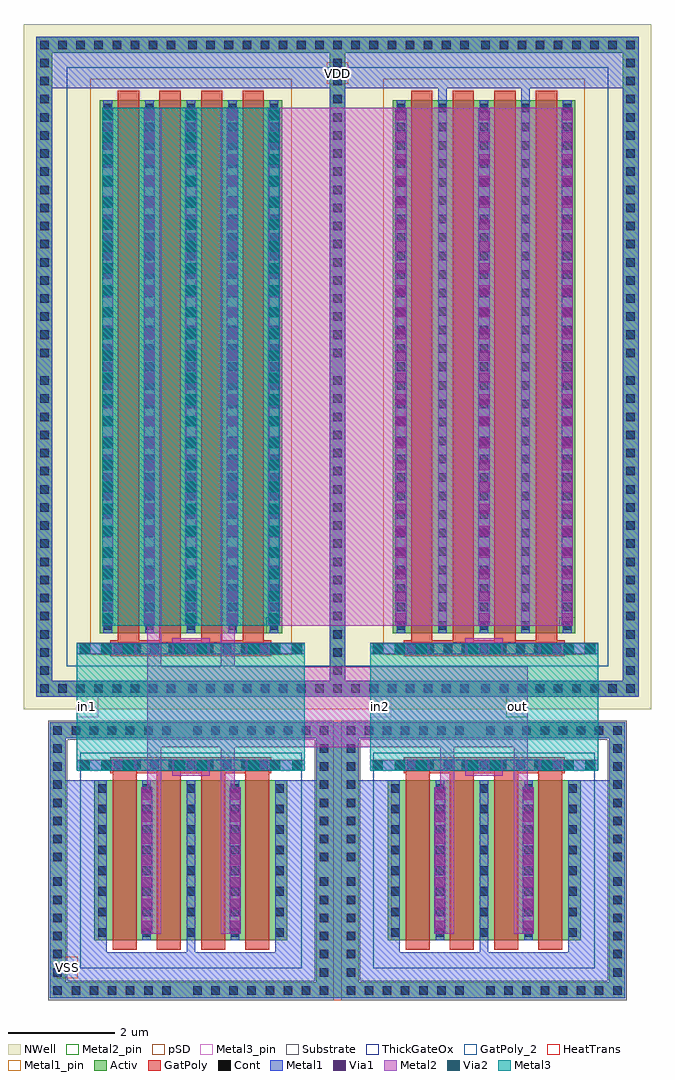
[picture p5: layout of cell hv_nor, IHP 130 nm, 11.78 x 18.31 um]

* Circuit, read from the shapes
.subckt hv_nor VDD VSS in1 in2 out
XM1 out in1 VSS VSS sg13_hv_nmos w=3u l=0.45u m=4
XM2 out in2 VSS VSS sg13_hv_nmos w=3u l=0.45u m=4
XM3 out in1 n1 VDD sg13_hv_pmos w=10u l=0.4u m=4
XM4 VDD in2 n1 VDD sg13_hv_pmos w=10u l=0.4u m=4
.ends

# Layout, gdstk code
from math import pi, radians
import gdstk
lib = gdstk.Library(unit=1e-6, precision=1e-09)
def R(c, l, rs):  # rectangles x0, y0, x1, y1
    for r in rs: c.add(gdstk.rectangle(r[:2], r[2:], *l))
def A(c, l, x, y, w, h, nx, ny, dx, dy):  # array of equal rectangles
    R(c, l, [(x+i*dx, y+j*dy, x+i*dx+w, y+j*dy+h) for i in range(nx) for j in range(ny)])
def P(c, l, *ps):  # polygons
    for p in ps: c.add(gdstk.Polygon(p, *l))
Activ = (1, 0)
GatPoly = (5, 0)
GatPoly_2 = (5, 2)
Cont = (6, 0)
Metal1 = (8, 0)
Metal1_pin = (8, 2)
Metal2 = (10, 0)
Metal2_pin = (10, 2)
pSD = (14, 0)
Via1 = (19, 0)
Via2 = (29, 0)
Metal3 = (30, 0)
Metal3_pin = (30, 2)
NWell = (31, 0)
Substrate = (40, 0)
ThickGateOx = (44, 0)
HeatTrans = (51, 0)

via_stack_14 = lib.new_cell('via_stack$14')
R(via_stack_14, Metal1, [(-0.105,-1.375,0.105,1.375)])
R(via_stack_14, Metal2, [(-0.1,-1.375,0.1,1.375)])
A(via_stack_14, Via1, -0.095, -1.325, 0.19, 0.19, 1, 7, 0, 0.41)

nmoshv_6 = lib.new_cell('nmosHV$6')
A(nmoshv_6, Activ, 0, 0, 0.3, 0.3, 5, 1, 0.83, 0)
R(nmoshv_6, Activ, [(-0.84,-0.79,-0.54,3.79), (4.16,-0.79,4.46,3.79), (0,0,3.62,3), (-0.84,3.79,4.46,4.09)])
P(nmoshv_6, Activ, [(-0.84,-1.09),(-0.84,3.79),(-0.54,3.79),(-0.54,-0.79),(4.16,-0.79),(4.16,3.79),(-0.84,3.79),(-0.84,4.09),(4.46,4.09),(4.46,-1.09)])
A(nmoshv_6, GatPoly, 0.34, -0.18, 0.45, 3.36, 4, 1, 0.83, 0)
R(nmoshv_6, GatPoly_2, [(0.34,-0.18,0.79,3.18)])
A(nmoshv_6, Cont, -0.77, -1.02, 0.16, 0.16, 7, 2, 0.34, 4.88)
A(nmoshv_6, Cont, 1.85, -1.02, 0.16, 0.16, 8, 2, 0.34, 4.88)
A(nmoshv_6, Cont, -0.77, -0.68, 0.16, 0.16, 1, 6, 0, 0.34)
A(nmoshv_6, Cont, 4.23, -0.68, 0.16, 0.16, 1, 6, 0, 0.34)
A(nmoshv_6, Cont, 0.07, 0.07, 0.16, 0.16, 5, 7, 0.83, 0.385)
A(nmoshv_6, Cont, -0.77, 1.48, 0.16, 0.16, 1, 7, 0, 0.34)
A(nmoshv_6, Cont, 4.23, 1.48, 0.16, 0.16, 1, 7, 0, 0.34)
A(nmoshv_6, Cont, 0.07, 2.77, 0.16, 0.16, 5, 1, 0.83, 0)
A(nmoshv_6, Metal1, 0.07, 0, 0.16, 3, 5, 1, 0.83, 0)
R(nmoshv_6, Metal1, [(-0.84,-1.09,4.46,-0.79), (-0.84,-0.79,-0.54,3.79), (4.16,-0.79,4.46,3.79), (-0.84,3.79,4.46,4.09)])
R(nmoshv_6, Metal1_pin, [(0.07,0,0.23,3), (0.9,0,1.06,3)])
R(nmoshv_6, pSD, [(-0.87,-0.76,-0.51,3.76), (4.13,-0.76,4.49,3.76), (-0.87,3.76,4.49,4.12)])
P(nmoshv_6, pSD, [(-0.87,-1.12),(-0.87,3.76),(-0.51,3.76),(-0.51,-0.76),(4.13,-0.76),(4.13,3.76),(-0.87,3.76),(-0.87,4.12),(4.49,4.12),(4.49,-1.12)])
R(nmoshv_6, Substrate, [(-0.87,-0.76,-0.51,3.76), (4.13,-0.76,4.49,3.76), (-0.87,3.76,4.49,4.12)])
P(nmoshv_6, Substrate, [(-0.87,-1.12),(-0.87,3.76),(-0.51,3.76),(-0.51,-0.76),(4.13,-0.76),(4.13,3.76),(-0.87,3.76),(-0.87,4.12),(4.49,4.12),(4.49,-1.12)])
R(nmoshv_6, ThickGateOx, [(-0.27,-0.52,3.89,3.52)])
A(nmoshv_6, HeatTrans, 0.34, -0.18, 0.45, 3.36, 4, 1, 0.83, 0)
nmoshv_6.add(gdstk.Label('nmosHV', (0.565,1.5), layer=63, texttype=0))
nmoshv_6.add(gdstk.Label('sub!', (1.81,-0.94), layer=63, texttype=0))
nmoshv_6.add(gdstk.Label('nmosHV', (0.565,1.5), layer=51, texttype=0))
nmoshv_6.add(gdstk.Label('nmosHV', (1.395,1.5), layer=51, texttype=0))
nmoshv_6.add(gdstk.Label('nmosHV', (2.225,1.5), layer=51, texttype=0))
nmoshv_6.add(gdstk.Label('nmosHV', (3.055,1.5), layer=51, texttype=0))

via_stack_2_4 = lib.new_cell('via_stack$2$4')
R(via_stack_2_4, Metal1, [(-0.105,-4.86,0.105,4.86)])
R(via_stack_2_4, Metal2, [(-0.1,-4.86,0.1,4.86)])
A(via_stack_2_4, Via1, -0.095, -4.81, 0.19, 0.19, 1, 24, 0, 0.41)

via_stack_3_1 = lib.new_cell('via_stack$3$1')
R(via_stack_3_1, GatPoly, [(-0.15,-1.51,0.15,1.51)])
A(via_stack_3_1, Cont, -0.08, -1.44, 0.16, 0.16, 1, 9, 0, 0.34)
R(via_stack_3_1, Metal1, [(-0.08,-1.49,0.08,1.49)])

pmoshv_6 = lib.new_cell('pmosHV$6')
A(pmoshv_6, Activ, 0, 0, 0.3, 0.3, 5, 1, 0.78, 0)
R(pmoshv_6, Activ, [(-1.19,-0.89,-0.89,10.89), (4.31,-0.89,4.61,10.89), (0,0,3.42,10), (-1.19,10.89,4.61,11.19)])
P(pmoshv_6, Activ, [(-1.19,-1.19),(-1.19,10.89),(-0.89,10.89),(-0.89,-0.89),(4.31,-0.89),(4.31,10.89),(-1.19,10.89),(-1.19,11.19),(4.61,11.19),(4.61,-1.19)])
A(pmoshv_6, GatPoly, 0.34, -0.18, 0.4, 10.36, 4, 1, 0.78, 0)
R(pmoshv_6, GatPoly_2, [(0.34,-0.18,0.74,10.18)])
A(pmoshv_6, Cont, -1.12, -1.12, 0.16, 0.16, 8, 2, 0.34, 12.08)
A(pmoshv_6, Cont, 1.66, -1.12, 0.16, 0.16, 9, 2, 0.34, 12.08)
A(pmoshv_6, Cont, -1.12, -0.78, 0.16, 0.16, 1, 17, 0, 0.34)
A(pmoshv_6, Cont, 4.38, -0.78, 0.16, 0.16, 1, 17, 0, 0.34)
A(pmoshv_6, Cont, 0.07, 0.07, 0.16, 0.16, 5, 4, 0.78, 0.345)
A(pmoshv_6, Cont, 0.07, 1.455, 0.16, 0.16, 5, 3, 0.78, 0.345)
A(pmoshv_6, Cont, 0.07, 2.495, 0.16, 0.16, 5, 4, 0.78, 0.345)
A(pmoshv_6, Cont, 0.07, 3.88, 0.16, 0.16, 5, 3, 0.78, 0.345)
A(pmoshv_6, Cont, 0.07, 4.92, 0.16, 0.16, 5, 4, 0.78, 0.345)
A(pmoshv_6, Cont, -1.12, 5.18, 0.16, 0.16, 1, 17, 0, 0.34)
A(pmoshv_6, Cont, 4.38, 5.18, 0.16, 0.16, 1, 17, 0, 0.34)
A(pmoshv_6, Cont, 0.07, 6.305, 0.16, 0.16, 5, 3, 0.78, 0.345)
A(pmoshv_6, Cont, 0.07, 7.345, 0.16, 0.16, 5, 4, 0.78, 0.345)
A(pmoshv_6, Cont, 0.07, 8.73, 0.16, 0.16, 5, 3, 0.78, 0.345)
A(pmoshv_6, Cont, 0.07, 9.77, 0.16, 0.16, 5, 1, 0.78, 0)
A(pmoshv_6, Metal1, 0.07, 0, 0.16, 10, 5, 1, 0.78, 0)
R(pmoshv_6, Metal1, [(-1.19,-1.19,4.61,-0.89), (-1.19,-0.89,-0.89,10.89), (4.31,-0.89,4.61,10.89), (-1.19,10.89,4.61,11.19)])
R(pmoshv_6, Metal1_pin, [(0.07,0,0.23,10), (0.85,0,1.01,10)])
R(pmoshv_6, pSD, [(-0.18,-0.4,3.6,10.4)])
R(pmoshv_6, NWell, [(-1.43,-1.43,4.85,11.43), (-0.62,-0.62,4.04,10.62)])
R(pmoshv_6, Substrate, [(3.12,0,3.42,0.3)])
R(pmoshv_6, ThickGateOx, [(-0.62,-0.62,4.04,10.62)])
A(pmoshv_6, HeatTrans, 0.34, -0.18, 0.4, 10.36, 4, 1, 0.78, 0)
pmoshv_6.add(gdstk.Label('pmosHV', (0.54,5), layer=63, texttype=0))
pmoshv_6.add(gdstk.Label('well', (1.71,-1.04), layer=63, texttype=0))
pmoshv_6.add(gdstk.Label('pmos', (0.54,5), layer=51, texttype=0))
pmoshv_6.add(gdstk.Label('pmos', (1.32,5), layer=51, texttype=0))
pmoshv_6.add(gdstk.Label('pmos', (2.1,5), layer=51, texttype=0))
pmoshv_6.add(gdstk.Label('pmos', (2.88,5), layer=51, texttype=0))

via_stack_4_2 = lib.new_cell('via_stack$4$2')
R(via_stack_4_2, Metal1, [(-0.105,-0.35,0.105,0.35)])
R(via_stack_4_2, Metal2, [(-0.1,-0.35,0.1,0.35)])
R(via_stack_4_2, Via1, [(-0.095,-0.3,0.095,-0.11), (-0.095,0.11,0.095,0.3)])
R(via_stack_4_2, Via2, [(-0.095,-0.3,0.095,-0.11), (-0.095,0.11,0.095,0.3)])
R(via_stack_4_2, Metal3, [(-0.1,-0.35,0.1,0.35)])

via_stack_5 = lib.new_cell('via_stack$5')
R(via_stack_5, Metal1, [(-0.105,-0.555,0.105,0.555)])
R(via_stack_5, Metal2, [(-0.1,-0.555,0.1,0.555)])
A(via_stack_5, Via1, -0.095, -0.505, 0.19, 0.19, 1, 3, 0, 0.41)
A(via_stack_5, Via2, -0.095, -0.505, 0.19, 0.19, 1, 3, 0, 0.41)
R(via_stack_5, Metal3, [(-0.1,-0.555,0.1,0.555)])

via_stack_8_2 = lib.new_cell('via_stack$8$2')
R(via_stack_8_2, Metal1, [(-0.105,-4.86,0.105,4.86)])
R(via_stack_8_2, Metal2, [(-0.1,-4.86,0.1,4.86)])
A(via_stack_8_2, Via1, -0.095, -4.81, 0.19, 0.19, 1, 24, 0, 0.41)
A(via_stack_8_2, Via2, -0.095, -4.81, 0.19, 0.19, 1, 24, 0, 0.41)
R(via_stack_8_2, Metal3, [(-0.1,-4.86,0.1,4.86)])

hv_nor = lib.new_cell('hv_nor')
R(hv_nor, Activ, [(2.65,-5.47,2.85,-0.29)])
A(hv_nor, Metal1, -1.74, -4.6, 0.16, 0.22, 3, 1, 1.66, 0)
A(hv_nor, Metal1, 3.76, -4.6, 0.16, 0.22, 3, 1, 1.66, 0)
R(hv_nor, Metal1, [(2.65,-5.47,2.85,-0.29), (-2.35,-5.17,7.85,-4.6), (-2.35,-4.6,-1.74,-1.38), (1.74,-4.6,3.76,-1.38), (7.24,-4.6,7.85,-1.38), (-2.14,-1.2,2.14,-0.99), (3.36,-1.2,7.64,-0.99), (-2.14,0.99,2.14,1.2), (3.36,0.99,7.64,1.2), (4.64,11.38,4.8,11.6), (6.2,11.38,6.36,11.6), (-2.6,11.6,8.1,12.27)])
R(hv_nor, Metal1_pin, [(-2.52,-5.09,-2.12,-4.69), (2.55,11.69,2.95,12.09)])
R(hv_nor, Metal2, [(-0.82,-4.255,-0.56,11.24), (0.56,-4.255,0.82,11.24), (4.68,-4.255,4.94,0.755), (6.06,-4.255,6.32,0.755), (-0.35,-1.29,0.35,-0.995), (5.15,-1.29,5.85,-0.995), (-0.82,-0.755,6.32,0.755), (-0.35,0.995,0.35,1.29), (5.15,0.995,5.85,1.29), (1.46,1.52,7.16,11.24)])
R(hv_nor, Metal2_pin, [(5.92,-0.2,6.32,0.2)])
R(hv_nor, pSD, [(2.68,-5.5,2.82,-0.26)])
R(hv_nor, Metal3, [(-2.14,-1.195,2.14,1.195), (3.36,-1.195,7.64,1.195), (-1.66,1.52,1.66,11.24)])
R(hv_nor, Metal3_pin, [(-2.14,-0.2,-1.74,0.2), (3.36,-0.2,3.76,0.2)])
R(hv_nor, ThickGateOx, [(2.33,0.76,3.17,12)])
hv_nor.add(gdstk.Reference(via_stack_14, (-0.83,-2.88)))
hv_nor.add(gdstk.Reference(nmoshv_6, (-1.81,-4.38)))
hv_nor.add(gdstk.Reference(via_stack_14, (0.83,-2.88)))
hv_nor.add(gdstk.Reference(via_stack_2_4, (0.78,6.38), rotation=pi))
hv_nor.add(gdstk.Reference(via_stack_2_4, (-0.78,6.38), rotation=pi))
hv_nor.add(gdstk.Reference(via_stack_3_1, (0,-1.095), rotation=pi/2))
hv_nor.add(gdstk.Reference(via_stack_3_1, (0,1.095), rotation=pi/2))
hv_nor.add(gdstk.Reference(pmoshv_6, (-1.71,1.38)))
hv_nor.add(gdstk.Reference(via_stack_14, (4.67,-2.88)))
hv_nor.add(gdstk.Reference(via_stack_4_2, (0,-1.095), rotation=pi/2))
hv_nor.add(gdstk.Reference(via_stack_5, (-1.585,-1.095), rotation=pi/2))
hv_nor.add(gdstk.Reference(via_stack_5, (1.585,-1.095), rotation=pi/2))
hv_nor.add(gdstk.Reference(via_stack_4_2, (0,1.095), rotation=3*pi/2, x_reflection=True))
hv_nor.add(gdstk.Reference(via_stack_8_2, (-1.56,6.38), rotation=pi))
hv_nor.add(gdstk.Reference(via_stack_5, (-1.585,1.095), rotation=3*pi/2, x_reflection=True))
hv_nor.add(gdstk.Reference(via_stack_5, (1.585,1.095), rotation=3*pi/2, x_reflection=True))
hv_nor.add(gdstk.Reference(via_stack_8_2, (0,6.38), rotation=pi))
hv_nor.add(gdstk.Reference(via_stack_8_2, (1.56,6.38), rotation=pi))
hv_nor.add(gdstk.Reference(nmoshv_6, (3.69,-4.38)))
hv_nor.add(gdstk.Reference(via_stack_14, (6.33,-2.88)))
hv_nor.add(gdstk.Reference(via_stack_3_1, (5.5,-1.095), rotation=pi/2))
hv_nor.add(gdstk.Reference(pmoshv_6, (3.79,1.38)))
hv_nor.add(gdstk.Reference(via_stack_4_2, (5.5,-1.095), rotation=pi/2))
hv_nor.add(gdstk.Reference(via_stack_5, (3.915,-1.095), rotation=pi/2))
hv_nor.add(gdstk.Reference(via_stack_5, (7.085,-1.095), rotation=pi/2))
hv_nor.add(gdstk.Reference(via_stack_4_2, (5.5,1.095), rotation=3*pi/2, x_reflection=True))
hv_nor.add(gdstk.Reference(via_stack_2_4, (3.94,6.38), rotation=pi))
hv_nor.add(gdstk.Reference(via_stack_5, (3.915,1.095), rotation=3*pi/2, x_reflection=True))
hv_nor.add(gdstk.Reference(via_stack_5, (7.085,1.095), rotation=3*pi/2, x_reflection=True))
hv_nor.add(gdstk.Reference(via_stack_2_4, (5.5,6.38), rotation=pi))
hv_nor.add(gdstk.Reference(via_stack_2_4, (7.06,6.38), rotation=pi))
hv_nor.add(gdstk.Reference(via_stack_3_1, (5.5,1.095), rotation=pi/2))
hv_nor.add(gdstk.Label('VDD', (2.75,11.89), layer=8, texttype=25))
hv_nor.add(gdstk.Label('VSS', (-2.32,-4.89), layer=8, texttype=25))
hv_nor.add(gdstk.Label('out', (6.12,0), layer=10, texttype=25))
hv_nor.add(gdstk.Label('in2', (3.56,0), layer=30, texttype=25))
hv_nor.add(gdstk.Label('in1', (-1.94,0), layer=30, texttype=25))

lib.write_gds('hv_nor.gds')
